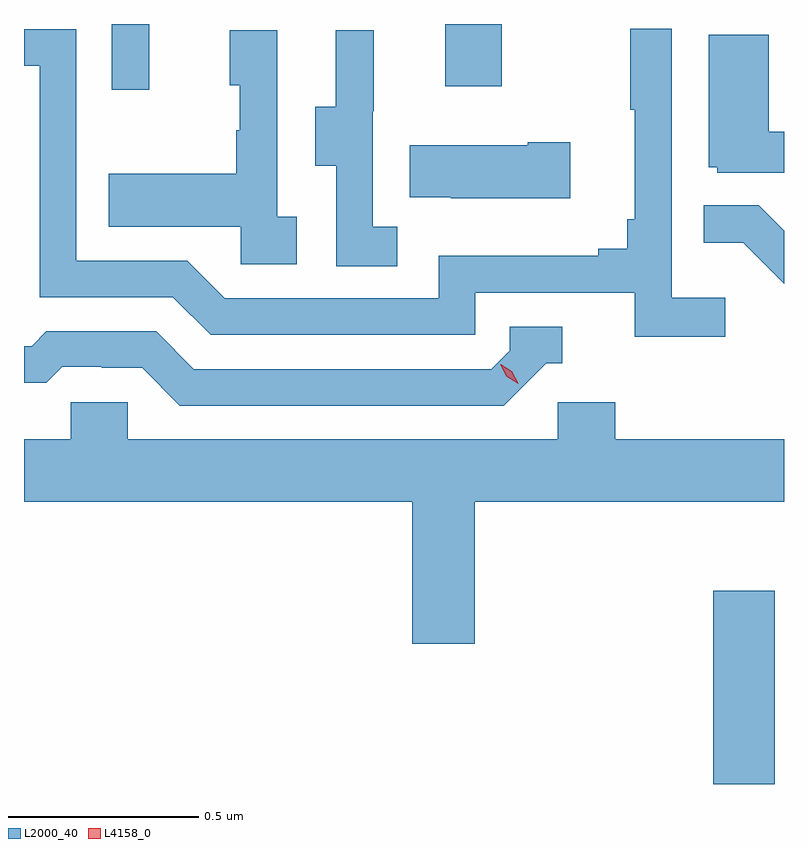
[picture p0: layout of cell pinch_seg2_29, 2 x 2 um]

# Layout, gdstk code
import gdstk
lib = gdstk.Library(unit=1e-6, precision=1e-09)
def R(c, l, rs):  # rectangles x0, y0, x1, y1
    for r in rs: c.add(gdstk.rectangle(r[:2], r[2:], *l))
def P(c, l, *ps):  # polygons
    for p in ps: c.add(gdstk.Polygon(p, *l))
L2000_40 = (2000, 40)
L4158_0 = (4158, 0)

pinch_seg2_29 = lib.new_cell('pinch_seg2_29')
R(pinch_seg2_29, L2000_40, [(1112.852,657.549,1113.013,658.057), (1111.269,659.376,1111.367,659.549), (1112.147,659.385,1112.295,659.549)])
P(pinch_seg2_29, L2000_40, [(1112.884,658.828),(1112.742,658.828),(1112.742,659.536),(1112.634,659.536),(1112.634,659.323),(1112.645,659.323),(1112.645,659.035),(1112.626,659.035),(1112.626,658.958),(1112.549,658.958),(1112.549,658.939),(1112.13,658.939),(1112.13,658.827),(1111.566,658.827),(1111.467,658.926),(1111.176,658.926),(1111.176,659.535),(1111.038,659.535),(1111.038,659.439),(1111.08,659.439),(1111.08,658.83),(1111.43,658.83),(1111.529,658.731),(1112.226,658.731),(1112.226,658.842),(1112.645,658.842),(1112.645,658.726),(1112.884,658.726)],
  [(1112.02,659.015),(1111.956,659.015),(1111.956,659.319),(1111.958,659.319),(1111.958,659.533),(1111.859,659.533),(1111.859,659.331),(1111.805,659.331),(1111.805,659.176),(1111.86,659.176),(1111.86,658.912),(1112.02,658.912)],
  [(1111.756,659.042),(1111.704,659.042),(1111.704,659.533),(1111.58,659.533),(1111.58,659.388),(1111.606,659.388),(1111.606,659.27),(1111.596,659.27),(1111.596,659.155),(1111.261,659.155),(1111.261,659.015),(1111.608,659.015),(1111.608,658.917),(1111.756,658.917)],
  [(1113.038,659.266),(1112.998,659.266),(1112.998,659.521),(1112.84,659.521),(1112.84,659.172),(1112.862,659.172),(1112.862,659.157),(1113.038,659.157)],
  [(1112.476,659.238),(1112.363,659.238),(1112.363,659.23),(1112.053,659.23),(1112.053,659.093),(1112.161,659.093),(1112.161,659.09),(1112.476,659.09)],
  [(1113.038,659.005),(1112.971,659.072),(1112.827,659.072),(1112.827,658.973),(1112.931,658.973),(1113.038,658.866)],
  [(1112.412,658.656),(1112.455,658.656),(1112.455,658.752),(1112.316,658.752),(1112.316,658.689),(1112.268,658.641),(1111.485,658.641),(1111.386,658.74),(1111.097,658.74),(1111.058,658.701),(1111.038,658.701),(1111.038,658.605),(1111.097,658.605),(1111.139,658.647),(1111.242,658.647),(1111.242,658.644),(1111.349,658.644),(1111.448,658.545),(1112.301,658.545)],
  [(1112.06,657.918),(1112.224,657.918),(1112.224,658.292),(1113.038,658.292),(1113.038,658.456),(1112.594,658.456),(1112.594,658.554),(1112.442,658.554),(1112.442,658.456),(1111.311,658.456),(1111.311,658.554),(1111.161,658.554),(1111.161,658.456),(1111.038,658.456),(1111.038,658.292),(1112.06,658.292)])
P(pinch_seg2_29, L4158_0, [(1112.338,658.602),(1112.307,658.622),(1112.291,658.654),(1112.291,658.654),(1112.292,658.654),(1112.322,658.635),(1112.338,658.603),(1112.338,658.602)])

lib.write_gds('pinch_seg2_29.gds')
